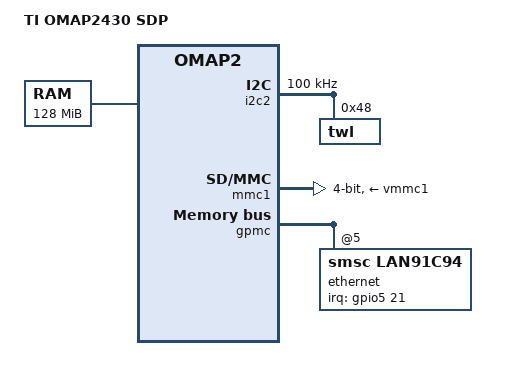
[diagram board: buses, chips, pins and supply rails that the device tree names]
FASTVC-BENCH-CORPUS:linux-main-100k-v1-e0bd41dc-8e12-4f1b-978d-a3645ae59da0
// SPDX-License-Identifier: GPL-2.0-only
/*
/* bench 10496.0.0 f8c8428cf7ae */
/* bench 10496.0.1 39d1ea827fcd */
/* bench 10496.0.2 0d0c1a0ca433 */
/* bench 10496.0.3 df5fe0a29635 */
/* bench 10496.0.4 9751239e50ca */
/* bench 10496.0.5 a498e320d989 */
/* bench 10496.0.6 d6ac551a3c7e */
/* bench 10496.0.7 2b506b8d8303 */
/* bench 10496.0.8 7d9aa8c52210 */
/* bench 10496.0.9 41decc2306b0 */
/* bench 10496.0.10 eaebffa6c759 */
/* bench 10496.0.11 09fb3a9a4c7f */
/* bench 10496.0.12 ec71f621d1b6 */
/* bench 10496.0.13 78dc179f5d29 */

#include "omap2430.dtsi"

/ {
	model = "TI OMAP2430 SDP";
	compatible = "ti,omap2430-sdp", "ti,omap2430", "ti,omap2";

	memory@80000000 {
		device_type = "memory";
		reg = <0x80000000 0x8000000>; /* 128 MB */
	};
};

&i2c2 {
	clock-frequency = <100000>;

	twl: twl@48 {
		reg = <0x48>;
		interrupts = <7>; /* SYS_NIRQ cascaded to intc */
	};
};

#include "twl4030.dtsi"

&mmc1 {
	vmmc-supply = <&vmmc1>;
	bus-width = <4>;
};

&gpmc {
	ranges = <5 0 0x08000000 0x01000000>;
	ethernet@gpmc {
		compatible = "smsc,lan91c94";
		interrupt-parent = <&gpio5>;
		interrupts = <21 IRQ_TYPE_LEVEL_LOW>;	/* gpio149 */
		reg = <5 0x300 0xf>;
		bank-width = <2>;
		gpmc,sync-clk-ps = <0>;
		gpmc,mux-add-data = <2>;
		gpmc,device-width = <1>;
		gpmc,cycle2cycle-samecsen = <1>;
		gpmc,cycle2cycle-diffcsen = <1>;
		gpmc,cs-on-ns = <6>;
		gpmc,cs-rd-off-ns = <187>;
		gpmc,cs-wr-off-ns = <187>;
		gpmc,adv-on-ns = <18>;
		gpmc,adv-rd-off-ns = <48>;
		gpmc,adv-wr-off-ns = <48>;
		gpmc,oe-on-ns = <60>;
		gpmc,oe-off-ns = <169>;
		gpmc,we-on-ns = <66>;
		gpmc,we-off-ns = <169>;
		gpmc,rd-cycle-ns = <187>;
		gpmc,wr-cycle-ns = <187>;
		gpmc,access-ns = <187>;
		gpmc,page-burst-access-ns = <24>;
		gpmc,bus-turnaround-ns = <24>;
		gpmc,cycle2cycle-delay-ns = <24>;
		gpmc,wait-monitoring-ns = <0>;
		gpmc,clk-activation-ns = <0>;
		gpmc,wr-data-mux-bus-ns = <0>;
		gpmc,wr-access-ns = <0>;
	};
};

